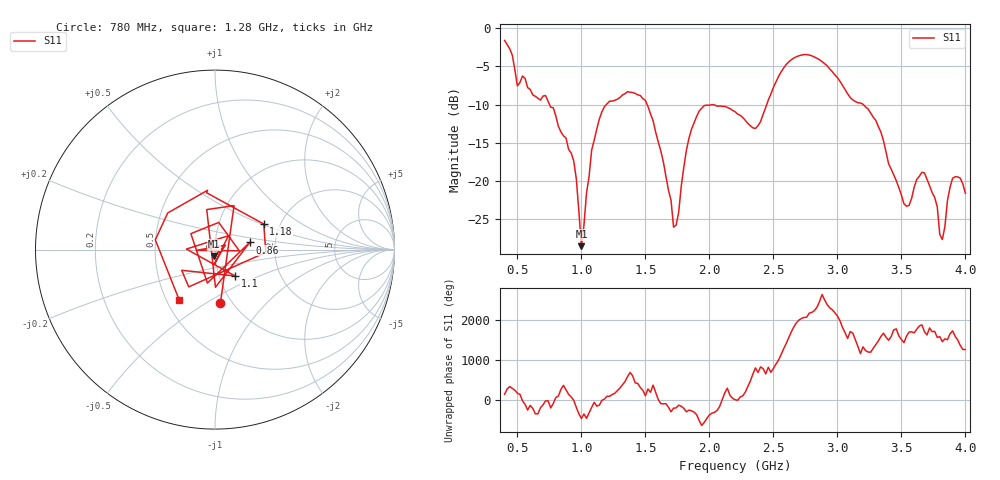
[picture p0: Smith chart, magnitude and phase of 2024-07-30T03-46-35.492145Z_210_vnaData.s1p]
!Created with skrf (http://scikit-rf.org).
# Hz S RI R 50.0
!freq ReS11 ImS11
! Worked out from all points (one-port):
!   181 points, 400 MHz to 4 GHz, reference 50 ohm
!   lowest |S11| = -28.5 dB at 1 GHz (marker M1), VSWR 1.08, Z = 49.4 - j3.69 ohm
!   |S11| at or under -10 dB: 751 MHz to 1.195 GHz (443.7 MHz wide, 45.6 % of centre); 1.514 GHz to 2.02 GHz (505.7 MHz wide, 28.6 % of centre); 3.203 GHz to end of sweep (the widest 3 of 4)
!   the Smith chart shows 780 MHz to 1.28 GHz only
!   S11 on the Smith chart (normalised r, x): 780 MHz: 0.88, -0.58; 860 MHz: 1.47, +0.12; 1.1 GHz: 1.19, -0.36; 1.18 GHz: 1.64, +0.52; 1.28 GHz: 0.58, -0.37
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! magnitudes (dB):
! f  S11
! 400 MHz  -1.6
! 500 MHz  -7.6
! 780 MHz  -10.4
! 860 MHz  -14.1
! 940 MHz  -17.4
! 1 GHz  -28.5
! 1.1 GHz  -14.6
! 1.18 GHz  -10.3
! 1.28 GHz  -9.3
! 1.3 GHz  -9.1
! 1.5 GHz  -9.4
! 1.64 GHz  -17.5
! 1.72 GHz  -26.0
! 1.76 GHz  -24.1
! 1.82 GHz  -16.0
! 1.92 GHz  -10.8
! 2.2 GHz  -10.9
! 2.36 GHz  -13.1
! 2.66 GHz  -3.9
! 2.86 GHz  -4.1
! 3.1 GHz  -9.1
! 3.3 GHz  -12.1
! 3.56 GHz  -23.2
! 3.68 GHz  -18.9
! 3.78 GHz  -23.3
! 3.82 GHz  -27.6
! 3.9 GHz  -19.6
! 4 GHz  -21.6
